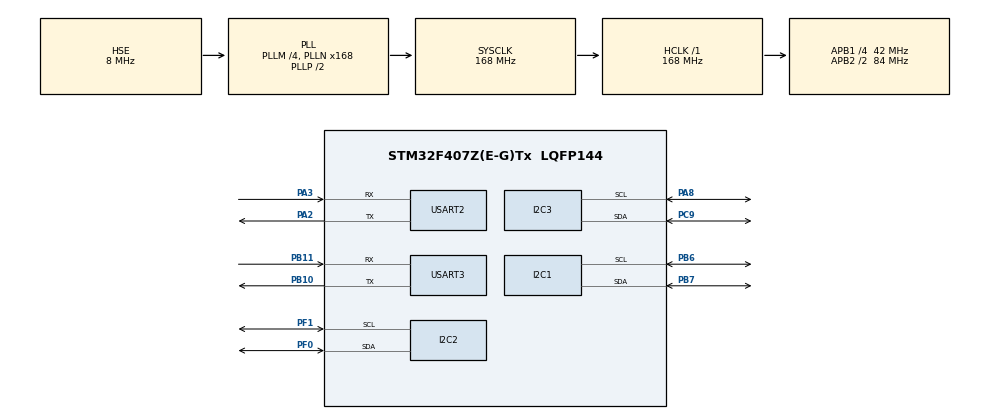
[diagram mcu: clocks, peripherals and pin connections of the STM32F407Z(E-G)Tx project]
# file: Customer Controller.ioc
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I2C1.I2C_Mode=I2C_Fast
I2C2.I2C_Mode=I2C_Fast
I2C3.I2C_Mode=I2C_Fast
Mcu.Family=STM32F4
Mcu.Name=STM32F407Z(E-G)Tx
Mcu.Package=LQFP144
NVIC.PriorityGroup=NVIC_PRIORITYGROUP_4
NVIC.USART2_IRQn=true\:0\:0\:false\:false\:true\:true\:true\:true
NVIC.USART3_IRQn=true\:0\:0\:false\:false\:true\:true\:true\:true
PA13.Mode=Serial_Wire
PA13.Signal=SYS_JTMS-SWDIO
PA14.Mode=Serial_Wire
PA14.Signal=SYS_JTCK-SWCLK
PA2.Mode=Asynchronous
PA2.Signal=USART2_TX
PA3.Mode=Asynchronous
PA3.Signal=USART2_RX
PA8.Mode=I2C
PA8.Signal=I2C3_SCL
PB10.Mode=Asynchronous
PB10.Signal=USART3_TX
PB11.Mode=Asynchronous
PB11.Signal=USART3_RX
PB6.Mode=I2C
PB6.Signal=I2C1_SCL
PB7.Mode=I2C
PB7.Signal=I2C1_SDA
PC9.Mode=I2C
PC9.Signal=I2C3_SDA
PF0.Mode=I2C
PF0.Signal=I2C2_SDA
PF1.Mode=I2C
PF1.Signal=I2C2_SCL
PH0-OSC_IN.Mode=HSE-External-Oscillator
PH0-OSC_IN.Signal=RCC_OSC_IN
PH1-OSC_OUT.Mode=HSE-External-Oscillator
PH1-OSC_OUT.Signal=RCC_OSC_OUT
ProjectManager.HeapSize=0x200
ProjectManager.StackSize=0x400
ProjectManager.TargetToolchain=MDK-ARM V5
RCC.48MHZClocksFreq_Value=84000000
RCC.AHBFreq_Value=168000000
RCC.APB1CLKDivider=RCC_HCLK_DIV4
RCC.APB1Freq_Value=42000000
RCC.APB1TimFreq_Value=84000000
RCC.APB2CLKDivider=RCC_HCLK_DIV2
RCC.APB2Freq_Value=84000000
RCC.APB2TimFreq_Value=168000000
RCC.CortexFreq_Value=168000000
RCC.HCLKFreq_Value=168000000
RCC.HSE_VALUE=8000000
RCC.HSI_VALUE=16000000
RCC.LSE_VALUE=32768
RCC.PLLM=4
RCC.PLLN=168
RCC.PLLSourceVirtual=RCC_PLLSOURCE_HSE
RCC.SYSCLKFreq_VALUE=168000000
RCC.SYSCLKSource=RCC_SYSCLKSOURCE_PLLCLK
RCC.VCOOutputFreq_Value=336000000
USART2.VirtualMode=VM_ASYNC
USART3.VirtualMode=VM_ASYNC
board=custom

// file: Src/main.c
/* USER CODE BEGIN Header */
/**
  ******************************************************************************
  * @file           : main.c
  * @brief          : Main program body
  ******************************************************************************
  * @attention
  *
  * Copyright (c) 2024 STMicroelectronics.
  * All rights reserved.
  *
  * This software is licensed under terms that can be found in the LICENSE file
  * in the root directory of this software component.
  * If no LICENSE file comes with this software, it is provided AS-IS.
  *
  ******************************************************************************
  */
/* USER CODE END Header */
#include "main.h"
#include "i2c.h"
#include "usart.h"
#include "gpio.h"

/* USER CODE BEGIN Includes */
#include "driveas5600.h"
#include "CRC.h"
/* USER CODE END Includes */

/* USER CODE BEGIN PTD */
extern float angle;
float angle1;
uint8_t header[17]={0};
uint8_t Serial_RxPacket[6]={0};
uint8_t Serial_RxFlag;
uint8_t data1[4]={0};
//float angle1;
/* USER CODE END PTD */

void SystemClock_Config(void);
static void Data_Concatenation(void);

int main(void)
	{

  /* MCU Configuration--------------------------------------------------------*/

  /* Reset of all peripherals, Initializes the Flash interface and the Systick. */
  HAL_Init();

  /* Configure the system clock */
  SystemClock_Config();

  /* Initialize all configured peripherals */
  MX_GPIO_Init();
  MX_I2C1_Init();
  MX_I2C2_Init();
  MX_I2C3_Init();
  MX_USART2_UART_Init();
  MX_USART3_UART_Init();
  /* USER CODE BEGIN 2 */
  HAL_UART_Receive_IT(&huart3,(uint8_t *)Serial_RxPacket,6);
  /* USER CODE END 2 */

  /* Infinite loop */
  /* USER CODE BEGIN WHILE */
  while (1)
  {
    angle=Programe_Run(hi2c1);
    angle1=Programe_Run(hi2c2);
    Data_Concatenation();
    HAL_UART_Transmit(&huart2, (uint8_t *)(&header), sizeof(header), 50);
    HAL_Delay(250);
    //angle1=Programe_Run(hi2c2);
    /* USER CODE END WHILE */

  }
}

void SystemClock_Config(void)
{
  RCC_OscInitTypeDef RCC_OscInitStruct = {0};
  RCC_ClkInitTypeDef RCC_ClkInitStruct = {0};

  /** Configure the main internal regulator output voltage
  */
  __HAL_RCC_PWR_CLK_ENABLE();
  __HAL_PWR_VOLTAGESCALING_CONFIG(PWR_REGULATOR_VOLTAGE_SCALE1);

  /** Initializes the RCC Oscillators according to the specified parameters
  * in the RCC_OscInitTypeDef structure.
  */
  RCC_OscInitStruct.OscillatorType = RCC_OSCILLATORTYPE_HSE;
  RCC_OscInitStruct.HSEState = RCC_HSE_ON;
  RCC_OscInitStruct.PLL.PLLState = RCC_PLL_ON;
  RCC_OscInitStruct.PLL.PLLSource = RCC_PLLSOURCE_HSE;
  RCC_OscInitStruct.PLL.PLLM = 4;
  RCC_OscInitStruct.PLL.PLLN = 168;
  RCC_OscInitStruct.PLL.PLLP = RCC_PLLP_DIV2;
  RCC_OscInitStruct.PLL.PLLQ = 4;
  if (HAL_RCC_OscConfig(&RCC_OscInitStruct) != HAL_OK)
  {
    Error_Handler();
  }

  /** Initializes the CPU, AHB and APB buses clocks
  */
  RCC_ClkInitStruct.ClockType = RCC_CLOCKTYPE_HCLK|RCC_CLOCKTYPE_SYSCLK
                              |RCC_CLOCKTYPE_PCLK1|RCC_CLOCKTYPE_PCLK2;
  RCC_ClkInitStruct.SYSCLKSource = RCC_SYSCLKSOURCE_PLLCLK;
  RCC_ClkInitStruct.AHBCLKDivider = RCC_SYSCLK_DIV1;
  RCC_ClkInitStruct.APB1CLKDivider = RCC_HCLK_DIV4;
  RCC_ClkInitStruct.APB2CLKDivider = RCC_HCLK_DIV2;

  if (HAL_RCC_ClockConfig(&RCC_ClkInitStruct, FLASH_LATENCY_5) != HAL_OK)
  {
    Error_Handler();
  }
}

/* USER CODE BEGIN 4 */
void HAL_UART_RxCpltCallback(UART_HandleTypeDef *huart)
{
  if(huart->Instance==USART3)
  {
     static uint8_t RxState=0;
   //接收数据包

			if(RxState==0)
      {
           if(Serial_RxPacket[0]==0x0A)
           {
               RxState=1;
           }
			}
      else if(RxState==1)
      {
         data1[0]=Serial_RxPacket[1];
         data1[1]=Serial_RxPacket[2];
         data1[2]=Serial_RxPacket[3];
         data1[3]=Serial_RxPacket[4];
             RxState=2;
			}
      else if(RxState==2)
      {
          if(Serial_RxPacket[5]==0xFE)
         { RxState=0;}
			}
    }
      HAL_UART_Receive_IT(&huart3,(uint8_t *)Serial_RxPacket,6);
 }
static void Data_Concatenation(void)
{
   static uint8_t seq = 0;
   header[0]=0xA5;
   header[1]=8;
   header[3]=seq++;
   Append_CRC8_Check_Sum((uint8_t *)(&header),5);
   header[5]=0x02;
   header[6]=0x03;
   header[7]=(uint16_t)angle>>8;
   header[8]=(uint16_t)angle;
   header[9]=(uint16_t)angle1>>8;
   header[10]=(uint16_t)angle1;
   header[11]=data1[0];
   header[12]=data1[1];
   header[13]=data1[2];
   header[14]=data1[3];
   Append_CRC16_Check_Sum((uint8_t *)(&header),17);
}
/* USER CODE END 4 */

void Error_Handler(void)
{
  __disable_irq();
  while (1)
  {
  }
}
